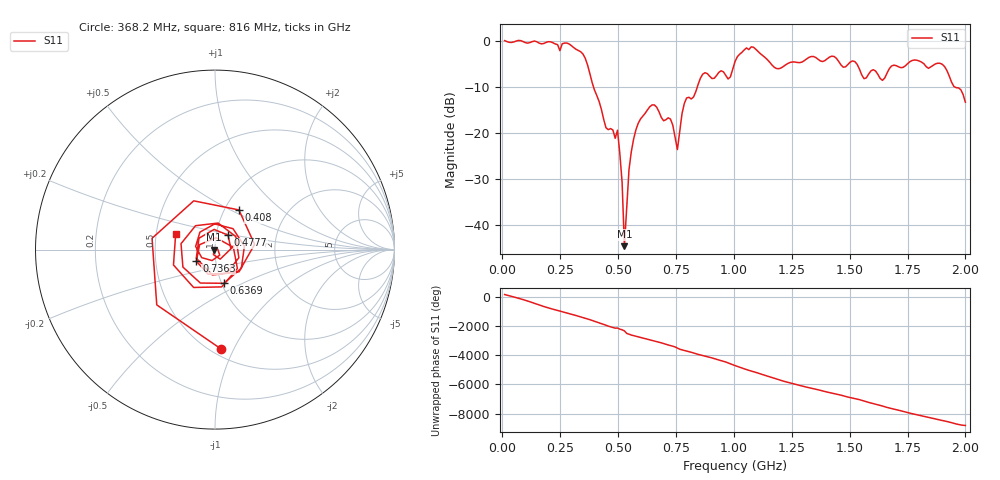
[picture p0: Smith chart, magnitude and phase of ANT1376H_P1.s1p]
!Created with skrf (http://scikit-rf.org).
# Hz S RI R 50.0
!freq ReS11 ImS11
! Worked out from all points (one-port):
!   201 points, 10 MHz to 2 GHz, reference 50 ohm
!   lowest |S11| = -44.6 dB at 527.4 MHz (marker M1), VSWR 1.01, Z = 49.4 + j0.0122 ohm
!   |S11| at or under -10 dB: 394.6 MHz to 841.7 MHz (447.1 MHz wide, 72.3 % of centre); 1.958 GHz to end of sweep
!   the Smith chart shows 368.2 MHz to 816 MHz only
!   S11 on the Smith chart (normalised r, x): 368.2 MHz: 0.56, -0.89; 408 MHz: 1.17, +0.55; 477.6 MHz: 1.14, +0.19; 636.9 MHz: 1.03, -0.40; 736.4 MHz: 0.81, -0.11; 816 MHz: 0.63, +0.12
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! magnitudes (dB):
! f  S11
! 10 MHz  0.2
! 258.8 MHz  -0.5
! 368.2 MHz  -5.1
! 408 MHz  -11.8
! 447.8 MHz  -18.8
! 477.6 MHz  -19.3
! 497.6 MHz  -19.3
! 507.5 MHz  -24.4
! 517.5 MHz  -30.7
! 527.4 MHz  -44.6
! 547.3 MHz  -27.9
! 557.2 MHz  -24.0
! 636.9 MHz  -14.2
! 736.4 MHz  -18.2
! 756.2 MHz  -23.6
! 786.1 MHz  -13.5
! 816 MHz  -12.5
! 865.7 MHz  -7.1
! 975.1 MHz  -8.2
! 1.005 GHz  -4.4
! 1.075 GHz  -1.2
! 1.184 GHz  -5.9
! 1.254 GHz  -4.5
! 1.502 GHz  -4.5
! 1.642 GHz  -8.5
! 1.751 GHz  -4.8
! 1.901 GHz  -5.0
! 2 GHz  -13.2
